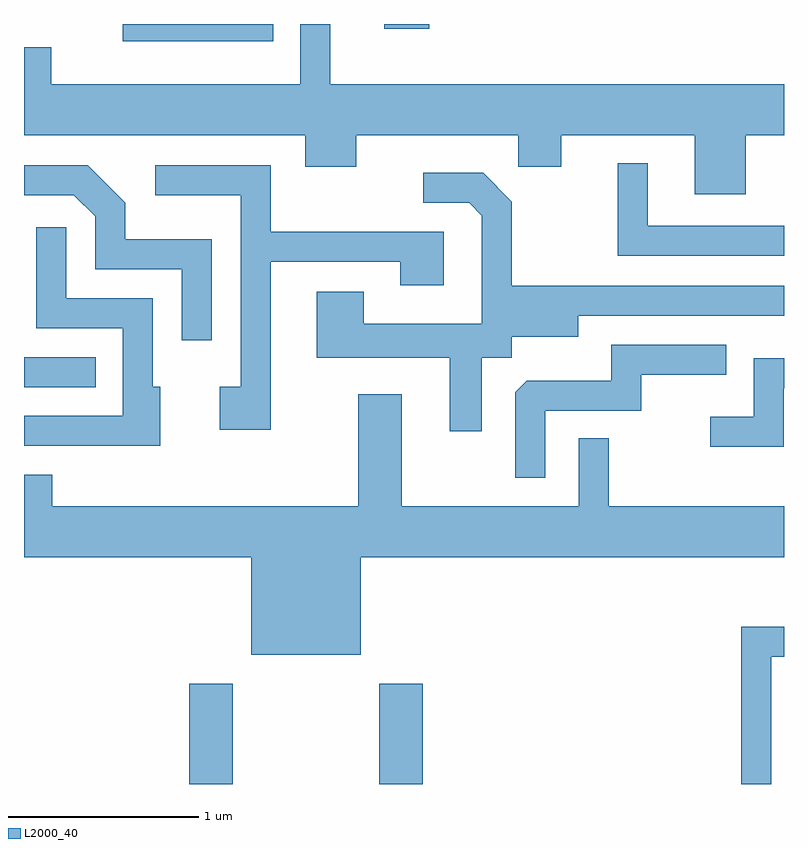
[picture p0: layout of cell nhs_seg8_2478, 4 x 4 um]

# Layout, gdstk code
import gdstk
lib = gdstk.Library(unit=1e-6, precision=1e-09)
def R(c, l, rs):  # rectangles x0, y0, x1, y1
    for r in rs: c.add(gdstk.rectangle(r[:2], r[2:], *l))
def P(c, l, *ps):  # polygons
    for p in ps: c.add(gdstk.Polygon(p, *l))
L2000_40 = (2000, 40)

nhs_seg8_2478 = lib.new_cell('nhs_seg8_2478')
R(nhs_seg8_2478, L2000_40, [(260.481,1826.342,260.709,1826.869), (261.481,1826.342,261.709,1826.869), (259.611,1828.431,259.988,1828.589), (260.131,1830.251,260.923,1830.342), (261.506,1830.316,261.744,1830.342)])
P(nhs_seg8_2478, L2000_40, [(263.409,1829.756),(263.611,1829.756),(263.611,1830.024),(261.224,1830.024),(261.224,1830.342),(261.066,1830.342),(261.066,1830.024),(259.754,1830.024),(259.754,1830.219),(259.611,1830.219),(259.611,1829.756),(261.091,1829.756),(261.091,1829.591),(261.359,1829.591),(261.359,1829.756),(262.211,1829.756),(262.211,1829.591),(262.439,1829.591),(262.439,1829.756),(263.141,1829.756),(263.141,1829.446),(263.409,1829.446)],
  [(263.611,1829.279),(262.894,1829.279),(262.894,1829.608),(262.736,1829.608),(262.736,1829.121),(263.611,1829.121)],
  [(260.909,1829.091),(261.591,1829.091),(261.591,1828.966),(261.819,1828.966),(261.819,1829.249),(260.909,1829.249),(260.909,1829.599),(260.303,1829.599),(260.303,1829.441),(260.751,1829.441),(260.751,1828.434),(260.641,1828.434),(260.641,1828.206),(260.909,1828.206)],
  [(260.599,1829.209),(260.144,1829.209),(260.144,1829.402),(259.947,1829.599),(259.611,1829.599),(259.611,1829.441),(259.873,1829.441),(259.986,1829.329),(259.986,1829.051),(260.441,1829.051),(260.441,1828.678),(260.599,1828.678)],
  [(262.019,1828.586),(262.179,1828.586),(262.179,1828.696),(262.529,1828.696),(262.529,1828.806),(263.611,1828.806),(263.611,1828.964),(262.179,1828.964),(262.179,1829.407),(262.027,1829.559),(261.712,1829.559),(261.712,1829.401),(261.954,1829.401),(262.021,1829.334),(262.021,1828.764),(261.399,1828.764),(261.399,1828.934),(261.151,1828.934),(261.151,1828.586),(261.851,1828.586),(261.851,1828.198),(262.019,1828.198)],
  [(260.329,1828.434),(260.289,1828.434),(260.289,1828.899),(259.834,1828.899),(259.834,1829.273),(259.676,1829.273),(259.676,1828.741),(260.131,1828.741),(260.131,1828.279),(259.611,1828.279),(259.611,1828.121),(260.329,1828.121)],
  [(262.354,1828.306),(262.859,1828.306),(262.859,1828.496),(263.308,1828.496),(263.308,1828.654),(262.701,1828.654),(262.701,1828.464),(262.257,1828.464),(262.196,1828.404),(262.196,1827.953),(262.354,1827.953)],
  [(263.609,1828.426),(263.611,1828.426),(263.611,1828.584),(263.451,1828.584),(263.451,1828.274),(263.223,1828.274),(263.223,1828.116),(263.609,1828.116)],
  [(261.384,1827.536),(263.611,1827.536),(263.611,1827.804),(262.689,1827.804),(262.689,1828.163),(262.531,1828.163),(262.531,1827.804),(261.599,1827.804),(261.599,1828.394),(261.371,1828.394),(261.371,1827.804),(259.759,1827.804),(259.759,1827.969),(259.611,1827.969),(259.611,1827.536),(260.806,1827.536),(260.806,1827.021),(261.384,1827.021)],
  [(263.544,1827.011),(263.611,1827.011),(263.611,1827.169),(263.386,1827.169),(263.386,1826.342),(263.544,1826.342)])

lib.write_gds('nhs_seg8_2478.gds')
